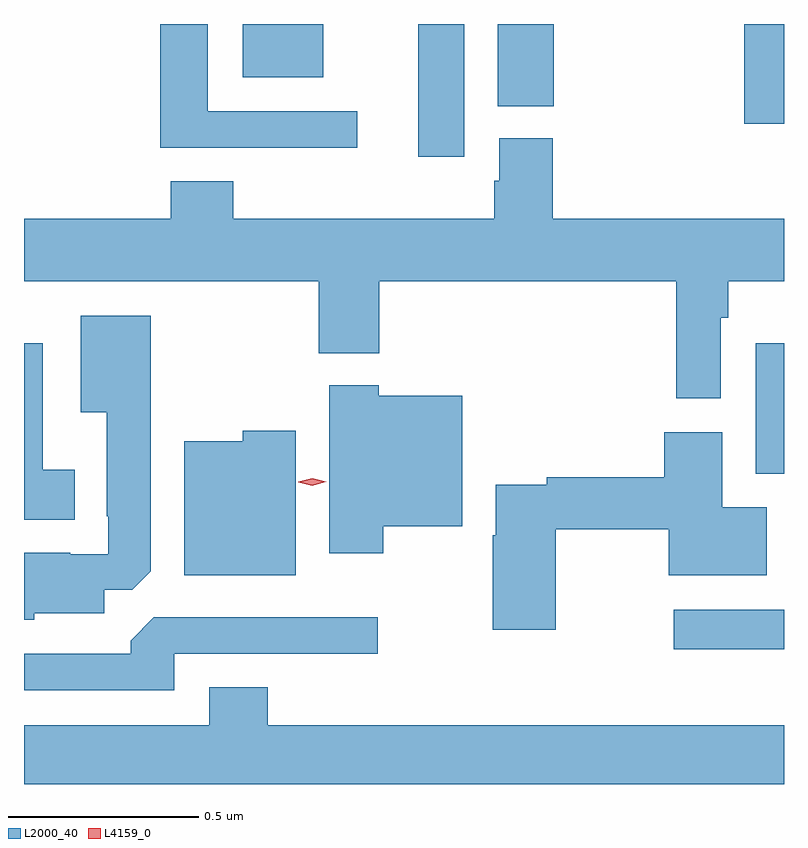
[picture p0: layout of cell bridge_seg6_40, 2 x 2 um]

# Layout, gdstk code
import gdstk
lib = gdstk.Library(unit=1e-6, precision=1e-09)
def R(c, l, rs):  # rectangles x0, y0, x1, y1
    for r in rs: c.add(gdstk.rectangle(r[:2], r[2:], *l))
def P(c, l, *ps):  # polygons
    for p in ps: c.add(gdstk.Polygon(p, *l))
L2000_40 = (2000, 40)
L4159_0 = (4159, 0)

bridge_seg6_40 = lib.new_cell('bridge_seg6_40')
R(bridge_seg6_40, L2000_40, [(1072.683,995.651,1072.973,995.755), (1072.898,996.114,1072.973,996.457), (1072.01,996.948,1072.132,997.297), (1072.868,997.035,1072.973,997.297), (1072.22,997.081,1072.367,997.297), (1071.548,997.157,1071.76,997.297)])
P(bridge_seg6_40, L2000_40, [(1071.85,997.068),(1071.457,997.068),(1071.457,997.297),(1071.332,997.297),(1071.332,996.971),(1071.85,996.971)],
  [(1072.806,996.524),(1072.826,996.524),(1072.826,996.62),(1072.973,996.62),(1072.973,996.784),(1072.364,996.784),(1072.364,996.996),(1072.223,996.996),(1072.223,996.885),(1072.211,996.885),(1072.211,996.784),(1071.524,996.784),(1071.524,996.883),(1071.359,996.883),(1071.359,996.784),(1070.973,996.784),(1070.973,996.62),(1071.748,996.62),(1071.748,996.431),(1071.908,996.431),(1071.908,996.62),(1072.69,996.62),(1072.69,996.312),(1072.806,996.312)],
  [(1071,995.747),(1071.184,995.747),(1071.184,995.808),(1071.258,995.808),(1071.307,995.857),(1071.307,996.529),(1071.122,996.529),(1071.122,996.275),(1071.191,996.275),(1071.191,996.001),(1071.195,996.001),(1071.195,995.901),(1071.095,995.901),(1071.095,995.905),(1070.973,995.905),(1070.973,995.729),(1071,995.729)],
  [(1071.106,996.124),(1071.022,996.124),(1071.022,996.457),(1070.973,996.457),(1070.973,995.993),(1071.106,995.993)],
  [(1071.918,995.975),(1072.126,995.975),(1072.126,996.319),(1071.906,996.319),(1071.906,996.346),(1071.776,996.346),(1071.776,995.904),(1071.918,995.904)],
  [(1071.688,996.226),(1071.549,996.226),(1071.549,996.199),(1071.395,996.199),(1071.395,995.846),(1071.688,995.846)],
  [(1072.372,995.968),(1072.67,995.968),(1072.67,995.846),(1072.927,995.846),(1072.927,996.025),(1072.81,996.025),(1072.81,996.223),(1072.658,996.223),(1072.658,996.104),(1072.348,996.104),(1072.348,996.084),(1072.214,996.084),(1072.214,995.951),(1072.207,995.951),(1072.207,995.703),(1072.372,995.703)],
  [(1071.369,995.64),(1071.904,995.64),(1071.904,995.736),(1071.315,995.736),(1071.254,995.674),(1071.254,995.64),(1070.973,995.64),(1070.973,995.544),(1071.369,995.544)],
  [(1072.973,995.452),(1071.614,995.452),(1071.614,995.551),(1071.461,995.551),(1071.461,995.452),(1070.973,995.452),(1070.973,995.297),(1072.973,995.297)])
P(bridge_seg6_40, L4159_0, [(1071.732,996.082),(1071.695,996.091),(1071.695,996.091),(1071.695,996.092),(1071.732,996.102),(1071.768,996.093),(1071.769,996.093),(1071.768,996.093)])

lib.write_gds('bridge_seg6_40.gds')
